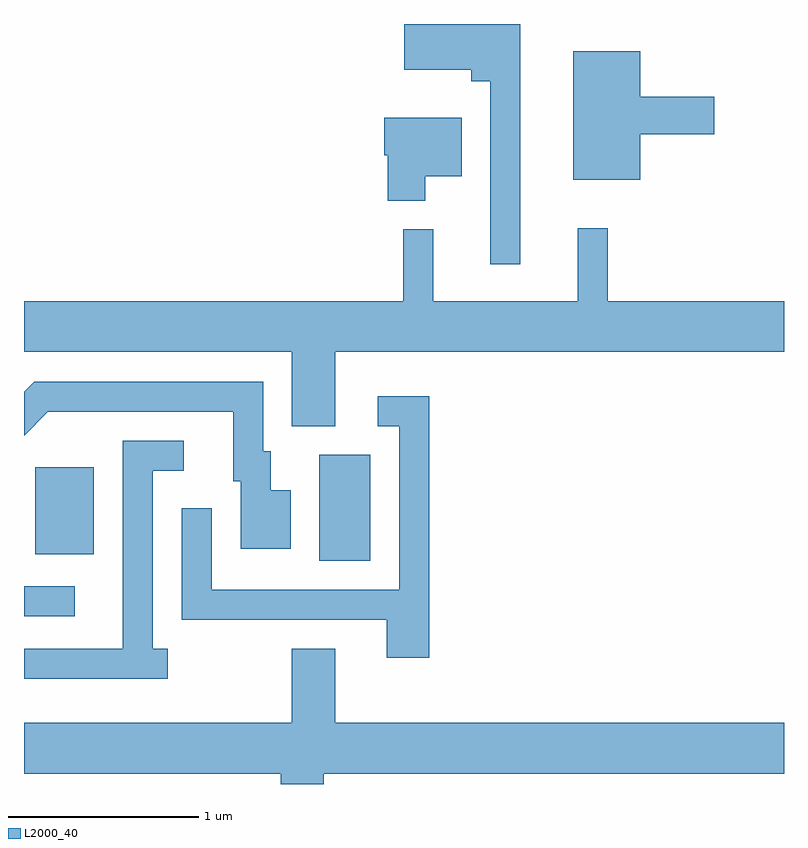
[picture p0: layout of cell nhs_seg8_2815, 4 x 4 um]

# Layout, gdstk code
import gdstk
lib = gdstk.Library(unit=1e-6, precision=1e-09)
def R(c, l, rs):  # rectangles x0, y0, x1, y1
    for r in rs: c.add(gdstk.rectangle(r[:2], r[2:], *l))
def P(c, l, *ps):  # polygons
    for p in ps: c.add(gdstk.Polygon(p, *l))
L2000_40 = (2000, 40)

nhs_seg8_2815 = lib.new_cell('nhs_seg8_2815')
R(nhs_seg8_2815, L2000_40, [(269.611,1857.226,269.878,1857.384), (271.166,1857.516,271.434,1858.074), (269.671,1857.551,269.979,1858.009)])
P(nhs_seg8_2815, L2000_40, [(272.224,1860.342),(271.611,1860.342),(271.611,1860.101),(271.966,1860.101),(271.966,1860.041),(272.066,1860.041),(272.066,1859.078),(272.224,1859.078)],
  [(272.854,1859.761),(273.244,1859.761),(273.244,1859.959),(272.854,1859.959),(272.854,1860.199),(272.501,1860.199),(272.501,1859.521),(272.854,1859.521)],
  [(271.724,1859.541),(271.914,1859.541),(271.914,1859.849),(271.506,1859.849),(271.506,1859.651),(271.526,1859.651),(271.526,1859.411),(271.724,1859.411)],
  [(271.249,1858.616),(273.611,1858.616),(273.611,1858.884),(272.684,1858.884),(272.684,1859.268),(272.526,1859.268),(272.526,1858.884),(271.764,1858.884),(271.764,1859.263),(271.606,1859.263),(271.606,1858.884),(269.611,1858.884),(269.611,1858.616),(271.021,1858.616),(271.021,1858.226),(271.249,1858.226)],
  [(271.014,1857.889),(270.909,1857.889),(270.909,1858.094),(270.869,1858.094),(270.869,1858.459),(269.664,1858.459),(269.611,1858.406),(269.611,1858.176),(269.737,1858.301),(270.711,1858.301),(270.711,1857.936),(270.751,1857.936),(270.751,1857.581),(271.014,1857.581)],
  [(271.744,1858.384),(271.473,1858.384),(271.473,1858.226),(271.586,1858.226),(271.586,1857.364),(270.599,1857.364),(270.599,1857.793),(270.441,1857.793),(270.441,1857.206),(271.521,1857.206),(271.521,1857.006),(271.744,1857.006)],
  [(270.368,1857.054),(270.289,1857.054),(270.289,1857.991),(270.453,1857.991),(270.453,1858.149),(270.131,1858.149),(270.131,1857.054),(269.611,1857.054),(269.611,1856.896),(270.368,1856.896)],
  [(271.189,1856.396),(273.611,1856.396),(273.611,1856.664),(271.249,1856.664),(271.249,1857.054),(271.021,1857.054),(271.021,1856.664),(269.611,1856.664),(269.611,1856.396),(270.961,1856.396),(270.961,1856.342),(271.189,1856.342)])

lib.write_gds('nhs_seg8_2815.gds')
